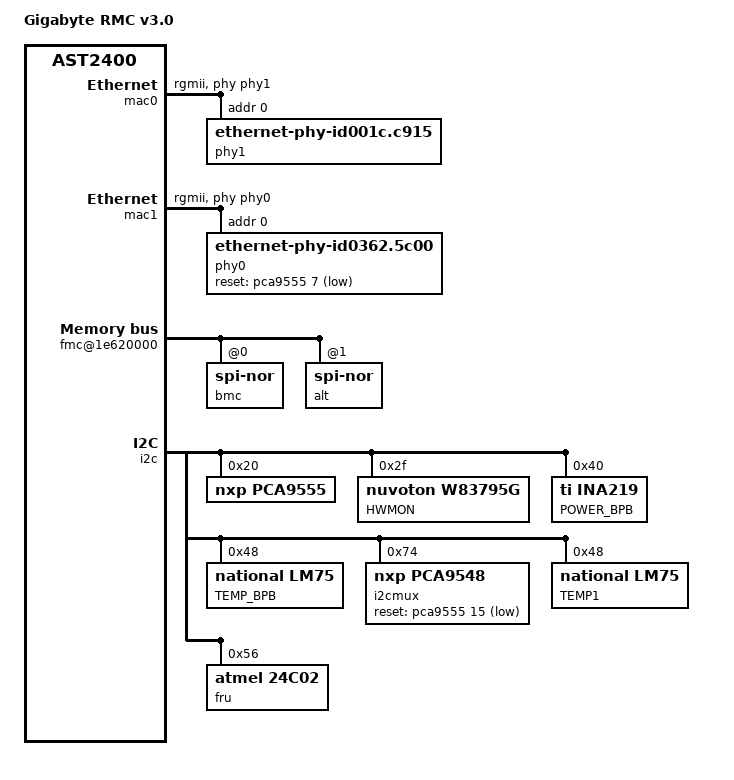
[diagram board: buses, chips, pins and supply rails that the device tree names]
/dts-v1/;

#include "ast2400.dtsi"
#include <dt-bindings/gpio/gpio.h>

/ {
	model = "Gigabyte RMC v3.0";
	compatible = "gb,rmc30", "aspeed,ast2400";

	ahb {
		mac0: ethernet@1e660000 {
/*			use-nc-si; */
			no-hw-checksum;

			phy-handle = <&phy1>;
			phy-mode = "rgmii";

			phy1: phy@0 {
				compatible = "ethernet-phy-id001c.c915",
					     "ethernet-phy-ieee802.3-c22";
				reg = <0>;
			};
		};

		mac1: ethernet@1e680000 {
			compatible = "faraday,ftgmac100", "aspeed,ast2400-mac";
			reg = <0x1e680000 0x180>;
			interrupts = <3>;
			no-hw-checksum;

			phy-handle = <&phy0>;
			phy-mode = "rgmii";

			phy0: phy@1e {
				reset-gpios = <&pca9555 7 GPIO_ACTIVE_LOW>;
				compatible = "ethernet-phy-id0362.5c00",
					     "ethernet-phy-ieee802.3-c22";
				reg = <0>;

				port@0 {
					compatible = "swconfig,port";
					swconfig,segment = "lan";
					swconfig,portmap = <0 0>;
				};

				port@1 {
					compatible = "swconfig,port";
					swconfig,segment = "lan";
					swconfig,portmap = <1 1>;
				};

				port@2 {
					compatible = "swconfig,port";
					swconfig,segment = "lan";
					swconfig,portmap = <2 2>;
				};

				port@3 {
					compatible = "swconfig,port";
					swconfig,segment = "lan";
					swconfig,portmap = <3 3>;
				};

				port@4 {
					compatible = "swconfig,port";
					swconfig,segment = "lan";
					swconfig,portmap = <4 4>;
				};

				port@5 {
					compatible = "swconfig,port";
					swconfig,segment = "lan";
					swconfig,portmap = <5 5>;
				};

				port@6 {
					compatible = "swconfig,port";
					swconfig,segment = "lan";
					swconfig,portmap = <6 6>;
				};

				port@7 {
					compatible = "swconfig,port";
					swconfig,segment = "lan";
					swconfig,portmap = <7 7>;
				};

				port@8 {
					compatible = "swconfig,port";
					swconfig,segment = "cpu";
					swconfig,portmap = <8 8>;
				};
			};
		};

		fmc@1e620000 {
			reg = < 0x1e620000 0x94
				0x20000000 0x02000000
				0x24000000 0x02000000 >;
			#address-cells = <1>;
			#size-cells = <0>;
			compatible = "aspeed,fmc";
			flash@0 {
				reg = < 0 >;
				compatible = "jedec,spi-nor" ;
				label = "bmc";
				/*
				 * Possibly required props:
				 * spi-max-frequency = <>
				 * spi-tx-bus-width = <>
				 * spi-rx-bus-width  = <>
				 * m25p,fast-read
				 * spi-cpol if inverse clock polarity (CPOL)
				 * spi-cpha if shifted clock phase (CPHA)
				 */
#include "aspeed-rmc-32M-flash-layout.dtsi"
			};
			flash@1 {
				reg = < 1 >;
				compatible = "jedec,spi-nor" ;
				label = "alt";
				#address-cells = < 1 >;
				#size-cells = < 1 >;
				2nd {
					reg = < 0 0x02000000 >;
					label = "2nd";
				};
				/*
				 * Possibly required props:
				 * spi-max-frequency = <>
				 * spi-tx-bus-width = <>
				 * spi-rx-bus-width  = <>
				 * m25p,fast-read
				 * spi-cpol if inverse clock polarity (CPOL)
				 * spi-cpha if shifted clock phase (CPHA)
				 */
			};
		};

		apb {
			i2c: i2c@1e78a040 {
				i2c6: i2c-bus@1c0 {
					pca9555: gpio-expander@21 {
						compatible = "nxp,pca9555";
						gpio-controller;
						#gpio-cells = <2>;
						reg = <0x20>;
					};
					sensors {
						label = "HWMON";
						compatible = "nuvoton,w83795g";
						reg = <0x2f>;
					};
					power {
						label = "POWER_BPB";
						compatible = "ti,ina219";
						reg = <0x40>;
					};
					tmp {
						label = "TEMP_BPB";
						compatible = "national,lm75";
						reg = <0x48>;
					};
					i2cmux@74 {
						compatible = "nxp,pca9548";
						#address-cells = <1>;
						#size-cells = <0>;
						reg = <0x74>;
						reset-gpios = <&pca9555 15 GPIO_ACTIVE_LOW>;
						i2c_node1: i2c@0 {
						    #address-cells = <1>;
						    #size-cells = <0>;
						    reg = <0>;
						};
						i2c_node2: i2c@1 {
						    #address-cells = <1>;
						    #size-cells = <0>;
						    reg = <1>;
						};
						i2c_node3: i2c@2 {
						    #address-cells = <1>;
						    #size-cells = <0>;
						    reg = <2>;
						};
						i2c_node4: i2c@3 {
						    #address-cells = <1>;
						    #size-cells = <0>;
						    reg = <3>;
						};
						i2c_node5: i2c@4 {
						    #address-cells = <1>;
						    #size-cells = <0>;
						    reg = <4>;
						};
						i2c_node6: i2c@5 {
						    #address-cells = <1>;
						    #size-cells = <0>;
						    reg = <5>;
						};
						i2c_node7: i2c@6 {
						    #address-cells = <1>;
						    #size-cells = <0>;
						    reg = <6>;
						};
						i2c_node8: i2c@7 {
						    #address-cells = <1>;
						    #size-cells = <0>;
						    reg = <7>;
						};
					};
				};
				i2c8: i2c-bus@340 {
					tmp {
						label = "TEMP1";
						compatible = "national,lm75";
						reg = <0x48>;
					};
					fru {
						compatible = "atmel,24c02";
						reg = <0x56>;
						pagesize = <32>;
					};
				};
			};
		};
	};
};
